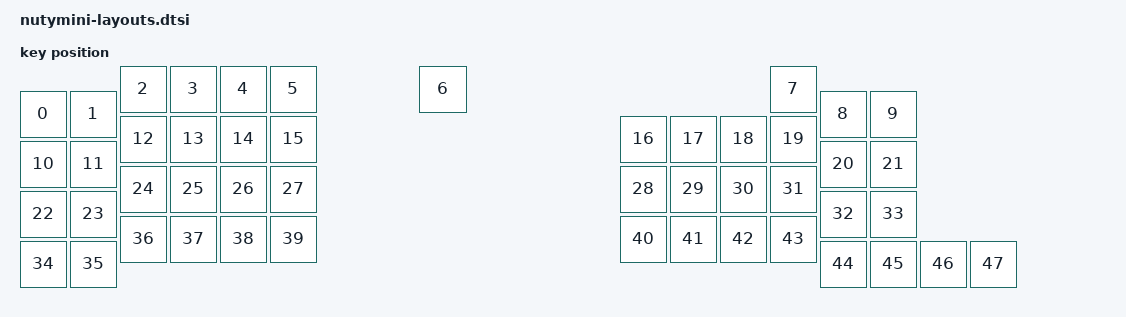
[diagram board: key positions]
#include <physical_layouts.dtsi>

/ {
    physical_layout0: physical_layout_0 {
        compatible = "zmk,physical-layout";
        display-name = "NutyMini46";

        keys  //                     w   h    x    y     rot    rx    ry
            = <&key_physical_attrs 100 100    0   50       0     0     0>
            , <&key_physical_attrs 100 100  100   50       0     0     0>
            , <&key_physical_attrs 100 100  200    0       0     0     0>
            , <&key_physical_attrs 100 100  300    0       0     0     0>
            , <&key_physical_attrs 100 100  400    0       0     0     0>
            , <&key_physical_attrs 100 100  500    0       0     0     0>
            , <&key_physical_attrs 100 100     800    0       0     0     0>
            , <&key_physical_attrs 100 100 1500    0       0     0     0>
            , <&key_physical_attrs 100 100 1600   50       0     0     0>
            , <&key_physical_attrs 100 100 1700   50       0     0     0>
            , <&key_physical_attrs 100 100    0  150       0     0     0>
            , <&key_physical_attrs 100 100  100  150       0     0     0>
            , <&key_physical_attrs 100 100  200  100       0     0     0>
            , <&key_physical_attrs 100 100  300  100       0     0     0>
            , <&key_physical_attrs 100 100  400  100       0     0     0>
            , <&key_physical_attrs 100 100  500  100       0     0     0>
            , <&key_physical_attrs 100 100 1200  100       0     0     0>
            , <&key_physical_attrs 100 100 1300  100       0     0     0>
            , <&key_physical_attrs 100 100 1400  100       0     0     0>
            , <&key_physical_attrs 100 100 1500  100       0     0     0>
            , <&key_physical_attrs 100 100 1600  150       0     0     0>
            , <&key_physical_attrs 100 100 1700  150       0     0     0>
            , <&key_physical_attrs 100 100    0  250       0     0     0>
            , <&key_physical_attrs 100 100  100  250       0     0     0>
            , <&key_physical_attrs 100 100  200  200       0     0     0>
            , <&key_physical_attrs 100 100  300  200       0     0     0>
            , <&key_physical_attrs 100 100  400  200       0     0     0>
            , <&key_physical_attrs 100 100  500  200       0     0     0>
            , <&key_physical_attrs 100 100 1200  200       0     0     0>
            , <&key_physical_attrs 100 100 1300  200       0     0     0>
            , <&key_physical_attrs 100 100 1400  200       0     0     0>
            , <&key_physical_attrs 100 100 1500  200       0     0     0>
            , <&key_physical_attrs 100 100 1600  250       0     0     0>
            , <&key_physical_attrs 100 100 1700  250       0     0     0>
            , <&key_physical_attrs 100 100    0  350       0     0     0>
            , <&key_physical_attrs 100 100  100  350       0     0     0>
            , <&key_physical_attrs 100 100  200  300       0     0     0>
            , <&key_physical_attrs 100 100  300  300       0     0     0>
            , <&key_physical_attrs 100 100  400  300       0     0     0>
            , <&key_physical_attrs 100 100  500  300       0     0     0>
            , <&key_physical_attrs 100 100 1200  300       0     0     0>
            , <&key_physical_attrs 100 100 1300  300       0     0     0>
            , <&key_physical_attrs 100 100 1400  300       0     0     0>
            , <&key_physical_attrs 100 100 1500  300       0     0     0>
            , <&key_physical_attrs 100 100 1600  350       0     0     0>
            , <&key_physical_attrs 100 100 1700  350       0     0     0>
            , <&key_physical_attrs 100 100 1800  350       0     0     0>
            , <&key_physical_attrs 100 100 1900  350       0     0     0>


            ;
    };
